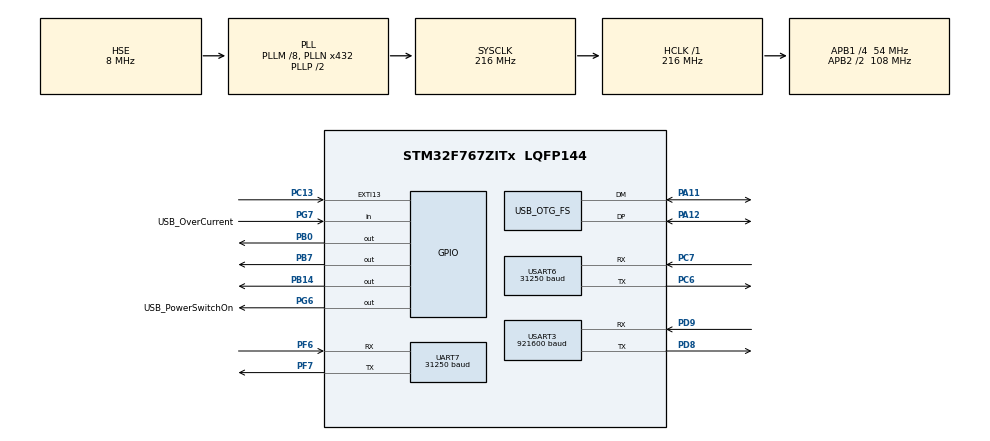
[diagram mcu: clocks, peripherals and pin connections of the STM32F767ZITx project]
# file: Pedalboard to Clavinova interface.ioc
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CORTEX_M7.CPU_DCache=Enabled
CORTEX_M7.CPU_ICache=Enabled
Mcu.Family=STM32F7
Mcu.Name=STM32F767ZITx
Mcu.Package=LQFP144
NVIC.OTG_FS_IRQn=true\:1\:0\:true\:false\:true\:false\:true\:true
NVIC.PriorityGroup=NVIC_PRIORITYGROUP_4
NVIC.UART7_IRQn=true\:0\:0\:false\:false\:true\:true\:true\:true
NVIC.USART6_IRQn=true\:0\:0\:false\:false\:true\:true\:true\:true
PA1.GPIO_Mode=GPIO_MODE_AF_PP
PA1.GPIO_PuPd=GPIO_NOPULL
PA1.GPIO_Speed=GPIO_SPEED_FREQ_VERY_HIGH
PA1.Signal=ETH_REF_CLK
PA10.GPIO_Mode=GPIO_MODE_AF_PP
PA10.GPIO_PuPd=GPIO_NOPULL
PA10.GPIO_Speed=GPIO_SPEED_FREQ_VERY_HIGH
PA10.Signal=USB_OTG_FS_ID
PA11.GPIO_Mode=GPIO_MODE_AF_PP
PA11.GPIO_PuPd=GPIO_NOPULL
PA11.GPIO_Speed=GPIO_SPEED_FREQ_VERY_HIGH
PA11.Mode=Host_Only
PA11.Signal=USB_OTG_FS_DM
PA12.GPIO_Mode=GPIO_MODE_AF_PP
PA12.GPIO_PuPd=GPIO_NOPULL
PA12.GPIO_Speed=GPIO_SPEED_FREQ_VERY_HIGH
PA12.Mode=Host_Only
PA12.Signal=USB_OTG_FS_DP
PA13.Mode=Serial_Wire
PA13.Signal=SYS_JTMS-SWDIO
PA14.Mode=Serial_Wire
PA14.Signal=SYS_JTCK-SWCLK
PA2.GPIO_Mode=GPIO_MODE_AF_PP
PA2.GPIO_PuPd=GPIO_NOPULL
PA2.GPIO_Speed=GPIO_SPEED_FREQ_VERY_HIGH
PA2.Signal=ETH_MDIO
PA7.GPIO_Mode=GPIO_MODE_AF_PP
PA7.GPIO_PuPd=GPIO_NOPULL
PA7.GPIO_Speed=GPIO_SPEED_FREQ_VERY_HIGH
PA7.Signal=ETH_CRS_DV
PA8.GPIO_Mode=GPIO_MODE_AF_PP
PA8.GPIO_PuPd=GPIO_NOPULL
PA8.GPIO_Speed=GPIO_SPEED_FREQ_VERY_HIGH
PA8.Signal=USB_OTG_FS_SOF
PA9.GPIO_Mode=GPIO_MODE_INPUT
PA9.GPIO_PuPd=GPIO_NOPULL
PA9.Signal=USB_OTG_FS_VBUS
PB0.GPIO_ModeDefaultOutputPP=GPIO_MODE_OUTPUT_PP
PB0.GPIO_PuPd=GPIO_NOPULL
PB0.GPIO_Speed=GPIO_SPEED_FREQ_LOW
PB0.PinState=GPIO_PIN_RESET
PB0.Signal=GPIO_Output
PB13.GPIO_Mode=GPIO_MODE_AF_PP
PB13.GPIO_PuPd=GPIO_NOPULL
PB13.GPIO_Speed=GPIO_SPEED_FREQ_VERY_HIGH
PB13.Signal=ETH_TXD1
PB14.GPIO_ModeDefaultOutputPP=GPIO_MODE_OUTPUT_PP
PB14.GPIO_PuPd=GPIO_NOPULL
PB14.GPIO_Speed=GPIO_SPEED_FREQ_LOW
PB14.PinState=GPIO_PIN_RESET
PB14.Signal=GPIO_Output
PB3.Signal=SYS_JTDO-SWO
PB7.GPIO_FM7=__NULL
PB7.GPIO_ModeDefaultOutputPP=GPIO_MODE_OUTPUT_PP
PB7.GPIO_PuPd=GPIO_NOPULL
PB7.GPIO_Speed=GPIO_SPEED_FREQ_LOW
PB7.PinState=GPIO_PIN_RESET
PB7.Signal=GPIO_Output
PC1.GPIO_Mode=GPIO_MODE_AF_PP
PC1.GPIO_PuPd=GPIO_NOPULL
PC1.GPIO_Speed=GPIO_SPEED_FREQ_VERY_HIGH
PC1.Signal=ETH_MDC
PC13.GPIO_ModeDefaultEXTI=GPIO_MODE_IT_RISING
PC13.GPIO_PuPd=GPIO_NOPULL
PC13.Signal=GPXTI13
PC14/OSC32_IN.Signal=RCC_OSC32_IN
PC15/OSC32_OUT.Signal=RCC_OSC32_OUT
PC4.GPIO_Mode=GPIO_MODE_AF_PP
PC4.GPIO_PuPd=GPIO_NOPULL
PC4.GPIO_Speed=GPIO_SPEED_FREQ_VERY_HIGH
PC4.Signal=ETH_RXD0
PC5.GPIO_Mode=GPIO_MODE_AF_PP
PC5.GPIO_PuPd=GPIO_NOPULL
PC5.GPIO_Speed=GPIO_SPEED_FREQ_VERY_HIGH
PC5.Signal=ETH_RXD1
PC6.Mode=Asynchronous
PC6.Signal=USART6_TX
PC7.Mode=Asynchronous
PC7.Signal=USART6_RX
PD8.GPIO_ModeDefaultPP=GPIO_MODE_AF_PP
PD8.GPIO_PuPd=GPIO_NOPULL
PD8.GPIO_Speed=GPIO_SPEED_FREQ_VERY_HIGH
PD8.Mode=Asynchronous
PD8.Signal=USART3_TX
PD9.GPIO_ModeDefaultPP=GPIO_MODE_AF_PP
PD9.GPIO_PuPd=GPIO_NOPULL
PD9.GPIO_Speed=GPIO_SPEED_FREQ_VERY_HIGH
PD9.Mode=Asynchronous
PD9.Signal=USART3_RX
PF6.Mode=Asynchronous
PF6.Signal=UART7_RX
PF7.Mode=Asynchronous
PF7.Signal=UART7_TX
PG11.GPIO_Mode=GPIO_MODE_AF_PP
PG11.GPIO_PuPd=GPIO_NOPULL
PG11.GPIO_Speed=GPIO_SPEED_FREQ_VERY_HIGH
PG11.Signal=ETH_TX_EN
PG13.GPIO_Mode=GPIO_MODE_AF_PP
PG13.GPIO_PuPd=GPIO_NOPULL
PG13.GPIO_Speed=GPIO_SPEED_FREQ_VERY_HIGH
PG13.Signal=ETH_TXD0
PG6.GPIO_Label=USB_PowerSwitchOn
PG6.GPIO_ModeDefaultOutputPP=GPIO_MODE_OUTPUT_PP
PG6.GPIO_PuPd=GPIO_NOPULL
PG6.GPIO_Speed=GPIO_SPEED_FREQ_LOW
PG6.PinState=GPIO_PIN_RESET
PG6.Signal=GPIO_Output
PG7.GPIO_Label=USB_OverCurrent
PG7.GPIO_Mode=GPIO_MODE_INPUT
PG7.GPIO_PuPd=GPIO_NOPULL
PG7.Signal=GPIO_Input
PH0/OSC_IN.Mode=HSE-External-Clock-Source
PH0/OSC_IN.Signal=RCC_OSC_IN
PH1/OSC_OUT.Mode=HSE-External-Clock-Source
PH1/OSC_OUT.Signal=RCC_OSC_OUT
ProjectManager.HeapSize=0x2000
ProjectManager.StackSize=0x4000
ProjectManager.TargetToolchain=STM32CubeIDE
RCC.48MHZClocksFreq_Value=24000000
RCC.AHBFreq_Value=216000000
RCC.APB1CLKDivider=RCC_HCLK_DIV4
RCC.APB1Freq_Value=54000000
RCC.APB1TimFreq_Value=108000000
RCC.APB2CLKDivider=RCC_HCLK_DIV2
RCC.APB2Freq_Value=108000000
RCC.APB2TimFreq_Value=216000000
RCC.CortexFreq_Value=216000000
RCC.HCLKFreq_Value=216000000
RCC.HSE_VALUE=8000000
RCC.HSI_VALUE=16000000
RCC.LSE_VALUE=32768
RCC.PLLM=8
RCC.PLLMUL=RCC_PLL_MUL9
RCC.PLLN=432
RCC.PLLQ=9
RCC.PRESCALERUSB=RCC_USBCLKSOURCE_PLL_DIV1_5
RCC.SYSCLKFreq_VALUE=216000000
RCC.SYSCLKSource=RCC_SYSCLKSOURCE_PLLCLK
RCC.SYSCLKSourceVirtual=RCC_SYSCLKSOURCE_PLLCLK
RCC.USBFreq_Value=48000000
RCC.VCOOutputFreq_Value=432000000
UART7.BaudRate=31250
USART3.BaudRate=921600
USART3.VirtualMode-Asynchronous=VM_ASYNC
USART6.BaudRate=31250
USART6.VirtualMode-Asynchronous=VM_ASYNC
USB_HOST.BSP.number=1
USB_HOST.USBH_HandleTypeDef-CDC_FS=hUsbHostFS
USB_HOST.VirtualModeFS=Cdc
USB_HOST0.BSP.STBoard=false
USB_HOST0.BSP.api=Unknown
USB_HOST0.BSP.instance=PG6
USB_HOST0.BSP.ip=GPIO
USB_HOST0.BSP.mode=Output
USB_HOST0.BSP.name=Drive_VBUS_FS
USB_HOST0.BSP.solution=PG6
USB_OTG_FS.Sof_enable=DISABLE
USB_OTG_FS.VirtualMode=Host_Only
USB_OTG_FS.phy_itface=HCD_PHY_EMBEDDED
VP_USB_HOST_VS_USB_HOST_CDC_FS.Mode=CDC_FS
board=NUCLEO-F767ZI

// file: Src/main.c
/* USER CODE BEGIN Header */
/**
  ******************************************************************************
  * @file           : main.c
  * @brief          : Main program body
  ******************************************************************************
  * @attention
  *
  * <h2><center>&copy; Copyright (c) 2019 STMicroelectronics.
  * All rights reserved.</center></h2>
  *
  * This software component is licensed by ST under Ultimate Liberty license
  * SLA0044, the "License"; You may not use this file except in compliance with
  * the License. You may obtain a copy of the License at:
  *                             www.st.com/SLA0044
  *
  ******************************************************************************
  */
/* USER CODE END Header */

#include "main.h"
#include "usart.h"
#include "usb_host.h"
#include "gpio.h"

/* USER CODE BEGIN Includes */

#include "stdio.h"
#include "stm32f7xx_nucleo_144.h"
#include "usbh_core.h"
#include "usbh_conf.h"
#include "usbh_MIDI.h"
#include "MIDI_application.h"
#include "Go.h"

/* USER CODE END Includes */

void SystemClock_Config(void);
void MX_USB_HOST_Process(void);

/* USER CODE BEGIN 0 */

///////////////////////////////////////////////////////////////////////////////

void SendToUSART(uint8_t Value)
{
  HAL_UART_Transmit(&huart3, &Value, 1, 1000);
}

///////////////////////////////////////////////////////////////////////////////

#ifdef __GNUC__
#define PUTCHAR_PROTOTYPE int __io_putchar(int ch)
#else
#define PUTCHAR_PROTOTYPE int fputc(int ch, FILE *f)
#endif /* __GNUC__ */
PUTCHAR_PROTOTYPE
{
  SendToUSART(ch);
  return ch;
}

/* USER CODE END 0 */

int main(void)
{

  /* Enable I-Cache---------------------------------------------------------*/
  SCB_EnableICache();

  /* Enable D-Cache---------------------------------------------------------*/
  SCB_EnableDCache();

  /* MCU Configuration--------------------------------------------------------*/

  /* Reset of all peripherals, Initializes the Flash interface and the Systick. */
  HAL_Init();

  /* Configure the system clock */
  SystemClock_Config();

  /* USER CODE BEGIN SysInit */

  BSP_LED_Init(LED_RED);
  BSP_LED_Init(LED_GREEN);
  BSP_LED_Init(LED_BLUE);

  BSP_PB_Init(BUTTON_USER, BUTTON_MODE_GPIO);

  HAL_Delay(1000); // Wait for pedalboard to settle.

  /* USER CODE END SysInit */

  /* Initialize all configured peripherals */
  MX_GPIO_Init();
  MX_USB_HOST_Init();
  MX_UART7_Init();
  MX_USART3_UART_Init();
  MX_USART6_UART_Init();
  /* USER CODE BEGIN 2 */

  //!!! setbuf(stdout, NULL); // Disable buffering so that debug info appears immediately.

  Go();

  /* USER CODE END 2 */

  /* Infinite loop */
  while (1)
  {
    MX_USB_HOST_Process();

  }
}

void SystemClock_Config(void)
{
  RCC_OscInitTypeDef RCC_OscInitStruct = {0};
  RCC_ClkInitTypeDef RCC_ClkInitStruct = {0};
  RCC_PeriphCLKInitTypeDef PeriphClkInitStruct = {0};

  /** Configure the main internal regulator output voltage
  */
  __HAL_RCC_PWR_CLK_ENABLE();
  __HAL_PWR_VOLTAGESCALING_CONFIG(PWR_REGULATOR_VOLTAGE_SCALE1);
  /** Initializes the CPU, AHB and APB busses clocks
  */
  RCC_OscInitStruct.OscillatorType = RCC_OSCILLATORTYPE_HSE;
  RCC_OscInitStruct.HSEState = RCC_HSE_BYPASS;
  RCC_OscInitStruct.PLL.PLLState = RCC_PLL_ON;
  RCC_OscInitStruct.PLL.PLLSource = RCC_PLLSOURCE_HSE;
  RCC_OscInitStruct.PLL.PLLM = 8;
  RCC_OscInitStruct.PLL.PLLN = 432;
  RCC_OscInitStruct.PLL.PLLP = RCC_PLLP_DIV2;
  RCC_OscInitStruct.PLL.PLLQ = 9;
  if (HAL_RCC_OscConfig(&RCC_OscInitStruct) != HAL_OK)
  {
    Error_Handler();
  }
  /** Activate the Over-Drive mode
  */
  if (HAL_PWREx_EnableOverDrive() != HAL_OK)
  {
    Error_Handler();
  }
  /** Initializes the CPU, AHB and APB busses clocks
  */
  RCC_ClkInitStruct.ClockType = RCC_CLOCKTYPE_HCLK|RCC_CLOCKTYPE_SYSCLK
                              |RCC_CLOCKTYPE_PCLK1|RCC_CLOCKTYPE_PCLK2;
  RCC_ClkInitStruct.SYSCLKSource = RCC_SYSCLKSOURCE_PLLCLK;
  RCC_ClkInitStruct.AHBCLKDivider = RCC_SYSCLK_DIV1;
  RCC_ClkInitStruct.APB1CLKDivider = RCC_HCLK_DIV4;
  RCC_ClkInitStruct.APB2CLKDivider = RCC_HCLK_DIV2;

  if (HAL_RCC_ClockConfig(&RCC_ClkInitStruct, FLASH_LATENCY_7) != HAL_OK)
  {
    Error_Handler();
  }
  PeriphClkInitStruct.PeriphClockSelection = RCC_PERIPHCLK_USART3|RCC_PERIPHCLK_USART6
                              |RCC_PERIPHCLK_UART7|RCC_PERIPHCLK_CLK48;
  PeriphClkInitStruct.Usart3ClockSelection = RCC_USART3CLKSOURCE_PCLK1;
  PeriphClkInitStruct.Usart6ClockSelection = RCC_USART6CLKSOURCE_PCLK2;
  PeriphClkInitStruct.Uart7ClockSelection = RCC_UART7CLKSOURCE_PCLK1;
  PeriphClkInitStruct.Clk48ClockSelection = RCC_CLK48SOURCE_PLL;
  if (HAL_RCCEx_PeriphCLKConfig(&PeriphClkInitStruct) != HAL_OK)
  {
    Error_Handler();
  }
}

void Error_Handler(void)
{
  /* USER CODE BEGIN Error_Handler_Debug */

  while (1)
  {
    BSP_LED_On(LED_RED);
    HAL_Delay(100);
    BSP_LED_Off(LED_RED);
    HAL_Delay(100);
  }

  /* USER CODE END Error_Handler_Debug */
}

/************************ (C) COPYRIGHT STMicroelectronics *****END OF FILE****/
